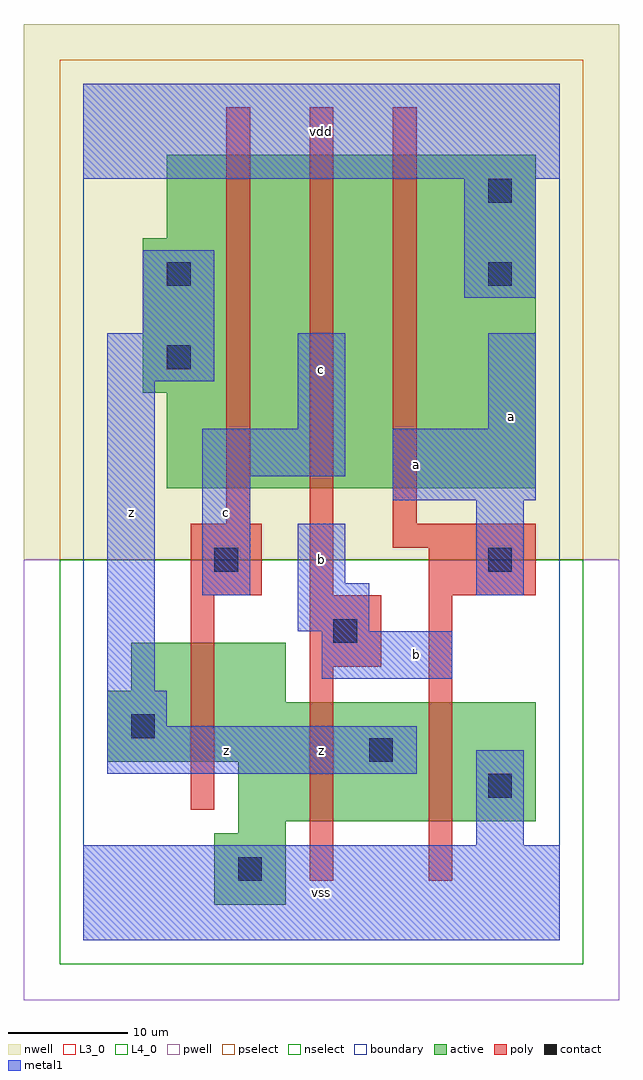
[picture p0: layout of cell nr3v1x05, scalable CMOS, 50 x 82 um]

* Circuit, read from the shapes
.subckt nr3v1x05 a b c vdd vss z
M1 vss c z VSUBS nfet w=10u l=2u
M2 z b vss VSUBS nfet w=10u l=2u
M3 vss a z VSUBS nfet w=10u l=2u
M4 n1 c z n2 pfet w=28u l=2u
M5 n3 b n1 n2 pfet w=28u l=2u
M6 vdd a n3 n2 pfet w=28u l=2u
.ends

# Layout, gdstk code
import gdstk
lib = gdstk.Library(unit=1e-6, precision=1e-09)
def R(c, l, rs):  # rectangles x0, y0, x1, y1
    for r in rs: c.add(gdstk.rectangle(r[:2], r[2:], *l))
L3_0 = (3, 0)
L4_0 = (4, 0)
contact = (25, 0)
pwell = (41, 0)
nwell = (42, 0)
active = (43, 0)
pselect = (44, 0)
nselect = (45, 0)
poly = (46, 0)
metal1 = (49, 0)
boundary = (63, 0)

nr3v1x05 = lib.new_cell('nr3v1x05')
R(nr3v1x05, L3_0, [(11,3,17,9), (13,9,17,10), (13,10,38,15), (2,15,38,20), (2,20,17,21), (4,21,17,25)])
R(nr3v1x05, L4_0, [(7,38,38,46), (5,46,38,59), (7,59,38,66)])
R(nr3v1x05, contact, [(13,5,15,7), (34,12,36,14), (24,15,26,17), (4,17,6,19), (21,25,23,27), (11,31,13,33), (34,31,36,33), (7,48,9,50), (7,55,9,57), (34,55,36,57), (34,62,36,64)])
R(nr3v1x05, pwell, [(-5,-5,45,32)])
R(nr3v1x05, nwell, [(-5,32,45,77)])
R(nr3v1x05, active, [(11,3,17,9), (13,9,17,10), (13,10,38,15), (2,15,38,20), (2,20,17,21), (4,21,17,25), (7,38,38,46), (5,46,38,59), (7,59,38,66)])
R(nr3v1x05, pselect, [(-2,32,42,74)])
R(nr3v1x05, nselect, [(-2,-2,42,32)])
R(nr3v1x05, poly, [(19,5,21,23), (29,5,31,29), (9,11,11,29), (19,23,25,29), (9,29,15,35), (19,29,21,70), (29,29,38,33), (26,33,38,35), (12,35,14,70), (26,35,28,70)])
R(nr3v1x05, metal1, [(0,0,40,8), (33,8,37,16), (2,14,28,18), (2,18,7,21), (2,21,6,47), (20,22,31,26), (18,26,24,30), (10,29,14,39), (33,29,37,37), (18,30,22,35), (26,37,38,43), (10,39,22,43), (18,43,22,51), (34,43,38,51), (2,47,11,51), (5,51,11,58), (32,54,38,64), (0,64,40,72)])
R(nr3v1x05, boundary, [(0,0,40,72)])
nr3v1x05.add(gdstk.Label('z', (4,36), layer=49, texttype=0))
nr3v1x05.add(gdstk.Label('z', (12,16), layer=49, texttype=0))
nr3v1x05.add(gdstk.Label('c', (12,36), layer=49, texttype=0))
nr3v1x05.add(gdstk.Label('vss', (20,4), layer=49, texttype=0))
nr3v1x05.add(gdstk.Label('vss', (20,4), layer=49, texttype=0))
nr3v1x05.add(gdstk.Label('z', (20,16), layer=49, texttype=0))
nr3v1x05.add(gdstk.Label('b', (20,32), layer=49, texttype=0))
nr3v1x05.add(gdstk.Label('b', (28,24), layer=49, texttype=0))
nr3v1x05.add(gdstk.Label('a', (28,40), layer=49, texttype=0))
nr3v1x05.add(gdstk.Label('c', (20,48), layer=49, texttype=0))
nr3v1x05.add(gdstk.Label('vdd', (20,68), layer=49, texttype=0))
nr3v1x05.add(gdstk.Label('vdd', (20,68), layer=49, texttype=0))
nr3v1x05.add(gdstk.Label('a', (36,44), layer=49, texttype=0))

lib.write_gds('nr3v1x05.gds')
